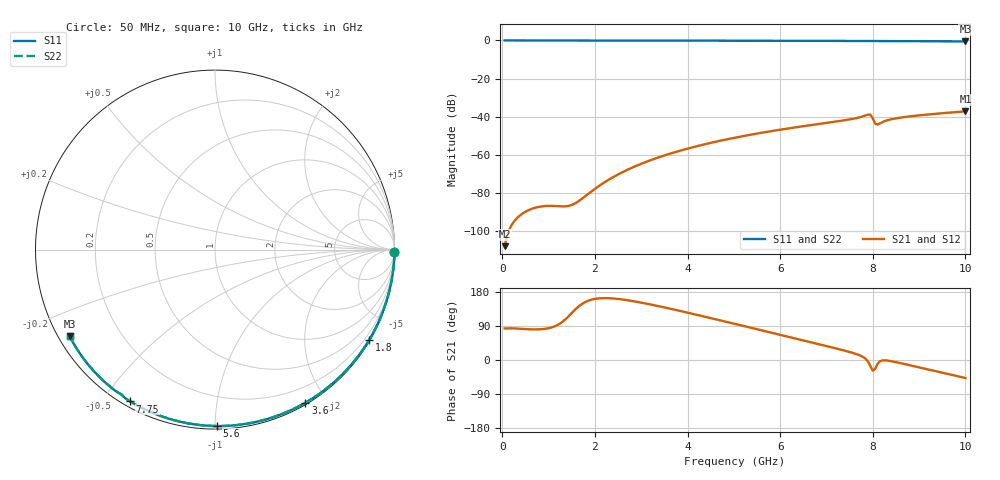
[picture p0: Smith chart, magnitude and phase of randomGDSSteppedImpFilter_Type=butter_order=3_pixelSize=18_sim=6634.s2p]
! freq	dB(S11)	phase(S11)	dB(S12)	phase(S12)
!  dB(S21)	phase(S21)	dB(S22)	phase(S22)
!S-par simulation data
#  GHz  S  DB  R 50
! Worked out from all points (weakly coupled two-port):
!   200 points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, 50 MHz to 10 GHz, reference 50 ohm
!   highest |S21| = -37.28 dB at 10 GHz (marker M1); lowest = -108.1 dB at 50 MHz (marker M2)
!   lowest |S11| = -0.5 dB at 10 GHz (marker M3), VSWR 34.12, Z = 1.58 - j13.7 ohm
!   |S11| at or under -10 dB: nowhere
!   |S22| runs from -0.5 to 0.0 dB; largest |S21 - S12| = 0
!   S11 on the Smith chart (normalised r, x): 50 MHz: open; 1.8 GHz: 0.03, -3.67; 3.6 GHz: 0.02, -1.75; 5.6 GHz: 0.02, -1.01; 7.75 GHz: 0.02, -0.59; 10 GHz: 0.03, -0.27
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0.05  -0.00 -0.9  -108.12 83.4  -108.12 83.4  -0.00 -0.9
0.9  -0.02 -15.4  -87.07 81.9  -87.07 81.9  -0.02 -15.4
1.75  -0.04 -29.6  -82.62 150.1  -82.62 150.1  -0.04 -29.6
1.8  -0.04 -30.5  -81.67 153.4  -81.67 153.4  -0.04 -30.5
1.9  -0.04 -32.1  -79.79 158.3  -79.79 158.3  -0.04 -32.1
2.25  -0.05 -37.9  -73.88 163.3  -73.88 163.3  -0.05 -37.9
2.65  -0.06 -44.4  -68.56 158.7  -68.56 158.7  -0.06 -44.4
3.4  -0.07 -56.3  -61.23 141.4  -61.23 141.4  -0.07 -56.3
3.6  -0.08 -59.5  -59.66 136.1  -59.66 136.1  -0.08 -59.5
4.3  -0.10 -70.2  -54.98 116.4  -54.98 116.4  -0.10 -70.2
5.05  -0.13 -81.4  -50.98 94.5  -50.98 94.5  -0.13 -81.4
5.6  -0.15 -89.3  -48.51 78.3  -48.51 78.3  -0.15 -89.3
6.7  -0.20 -104.8  -44.36 45.8  -44.36 45.8  -0.20 -104.8
7.75  -0.27 -119.2  -40.16 10.7  -40.16 10.7  -0.27 -119.2
7.9  -0.30 -121.3  -38.95 -4.5  -38.95 -4.5  -0.30 -121.3
7.95  -0.32 -122.1  -39.06 -16.2  -39.06 -16.2  -0.32 -122.1
8  -0.34 -122.6  -40.91 -28.2  -40.91 -28.2  -0.34 -122.6
8.05  -0.35 -123.1  -43.66 -23.6  -43.66 -23.6  -0.35 -123.1
8.1  -0.34 -123.7  -44.23 -10.5  -44.23 -10.5  -0.34 -123.7
8.35  -0.34 -127.1  -41.70 -2.1  -41.70 -2.1  -0.34 -127.1
8.9  -0.39 -134.5  -39.63 -16.6  -39.63 -16.6  -0.39 -134.5
10  -0.51 -149.3  -37.28 -47.4  -37.28 -47.4  -0.51 -149.3
